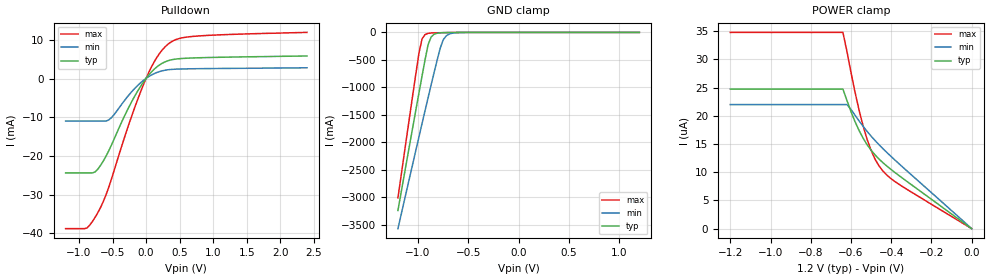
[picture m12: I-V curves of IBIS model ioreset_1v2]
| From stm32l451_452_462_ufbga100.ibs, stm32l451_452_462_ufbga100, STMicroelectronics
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|   Model ioreset_1v2
[Model]  ioreset_1v2
Model_type I/O_open_drain
Polarity   Inverting
Enable   Active-High
Vinl =   0.360000V
Vinh =   0.840000V
Vmeas =  0.600000V
Cref =   100.000000nF
Rref =   1.000000k
Vref =   1.200000V
C_comp   0.478720pF   0.386870pF   0.488870pF
[Temperature Range]   25.000000   0.125000k   -40.000000
[Pullup Reference]   1.200000V   1.080000V   1.320000V
[Pulldown Reference]   0.0V   0.0V   0.0V
[POWER Clamp Reference]   1.200000V   1.080000V   1.320000V
[GND Clamp Reference]   0.0V   0.0V   0.0V
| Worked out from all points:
|   slope of the pulldown table from 0 to 0.18 V, typ, clamps not added: 55.8 ohm
|   GND clamp passes 1 mA (typ) near -0.60 V on its own axis
[Pulldown]
|Voltage   I(typ)   I(min)   I(max)
-1.2V     -24.41mA   -11.01mA   -38.83mA
-880mV    -24.41mA   -11.01mA   -38.66mA
-720mV    -23.44mA   -11.01mA   -34.71mA
-600mV    -20.17mA   -11.01mA   -30.21mA
-520mV    -17.35mA   -10.18mA   -26.2mA
-240mV    -6.83mA    -3.923mA   -10.98mA
-40mV     -934.1uA   -487.3uA   -1.63mA
120mV     2.392mA    1.255mA    4.286mA
320mV     4.57mA     2.255mA    8.784mA
480mV     5.107mA    2.449mA    10.28mA
720mV     5.336mA    2.535mA    10.93mA
2.4V      5.832mA    2.779mA    11.93mA
[GND_clamp]
|Voltage   I(typ)   I(min)   I(max)
-1.2V     -3.237A    -3.567A    -3.007A
-990mV    -1.09A     -1.891A    -366.7mA
-960mV    -790.4mA   -1.655A    -117.3mA
-930mV    -495.2mA   -1.419A    -39.03mA
-900mV    -224mA     -1.186A    -17.33mA
-870mV    -83.94mA   -954.7mA   -11.02mA
-780mV    -7.786mA   -289.5mA   -5.907mA
-750mV    -4.95mA    -134.8mA   -4.824mA
-720mV    -3.507mA   -62.23mA   -3.833mA
-660mV    -1.911mA   -14.46mA   -2.15mA
-540mV    -364.7uA   -1.228mA   -309.9uA
1.2V      0A         0A         0A
[POWER_clamp]
|Voltage   I(typ)   I(min)   I(max)
-1.2V     24.72uA    21.98uA    34.76uA
-640mV    24.72uA    21.98uA    34.76uA
-620mV    22.7uA     21.98uA    31.37uA
-580mV    18.97uA    20.1uA     24.2uA
-560mV    17.4uA     19.1uA     21.04uA
-540mV    16.05uA    18.14uA    18.24uA
-520mV    14.89uA    17.24uA    15.84uA
-500mV    13.9uA     16.4uA     13.86uA
-460mV    12.31uA    14.85uA    11.08uA
-420mV    11.04uA    13.44uA    9.427uA
-380mV    9.91uA     12.11uA    8.305uA
0V        0A         0A         0A
[Ramp]
| variable   typ   min   max
dV/dt_r  0.71922/0.60515u   0.64668/0.60033u   0.79151/0.60018u
dV/dt_f  0.71922/37.88688n   0.64668/77.76066n   0.79151/22.19591n
R_load = 40.000000k
